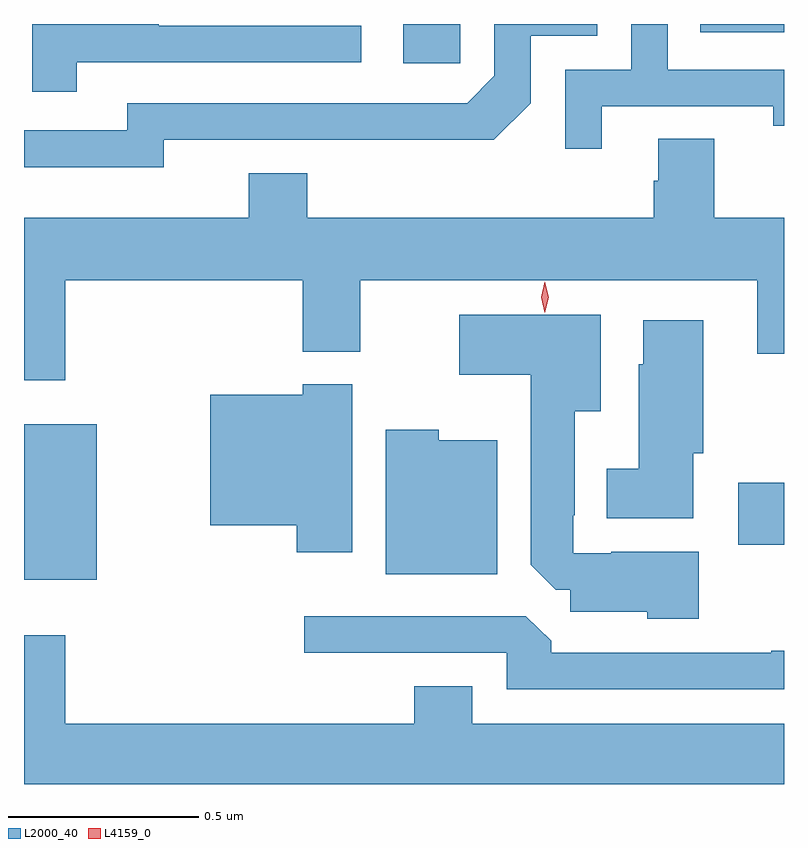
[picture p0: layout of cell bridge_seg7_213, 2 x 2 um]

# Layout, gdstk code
import gdstk
lib = gdstk.Library(unit=1e-6, precision=1e-09)
def R(c, l, rs):  # rectangles x0, y0, x1, y1
    for r in rs: c.add(gdstk.rectangle(r[:2], r[2:], *l))
def P(c, l, *ps):  # polygons
    for p in ps: c.add(gdstk.Polygon(p, *l))
L2000_40 = (2000, 40)
L4159_0 = (4159, 0)

bridge_seg7_213 = lib.new_cell('bridge_seg7_213')
R(bridge_seg7_213, L2000_40, [(126.67,1014.479,126.862,1014.889), (128.55,1014.572,128.67,1014.735), (127.668,1015.839,127.818,1015.942), (128.449,1015.92,128.67,1015.942)])
P(bridge_seg7_213, L2000_40, [(127.038,1015.638),(127.498,1015.638),(127.498,1015.637),(127.906,1015.637),(128.004,1015.734),(128.004,1015.911),(128.178,1015.911),(128.178,1015.942),(127.908,1015.942),(127.908,1015.806),(127.836,1015.734),(126.942,1015.734),(126.942,1015.662),(126.67,1015.662),(126.67,1015.565),(127.038,1015.565)],
  [(126.809,1015.842),(127.558,1015.842),(127.558,1015.938),(127.025,1015.938),(127.025,1015.942),(126.692,1015.942),(126.692,1015.764),(126.809,1015.764)],
  [(128.191,1015.725),(128.642,1015.725),(128.642,1015.674),(128.67,1015.674),(128.67,1015.821),(128.364,1015.821),(128.364,1015.942),(128.268,1015.942),(128.268,1015.821),(128.094,1015.821),(128.094,1015.614),(128.191,1015.614)],
  [(126.779,1015.268),(127.403,1015.268),(127.403,1015.079),(127.555,1015.079),(127.555,1015.268),(128.6,1015.268),(128.6,1015.074),(128.67,1015.074),(128.67,1015.432),(128.487,1015.432),(128.487,1015.64),(128.339,1015.64),(128.339,1015.53),(128.327,1015.53),(128.327,1015.432),(127.415,1015.432),(127.415,1015.549),(127.262,1015.549),(127.262,1015.432),(126.67,1015.432),(126.67,1015.005),(126.779,1015.005)],
  [(128.446,1014.553),(128.215,1014.553),(128.215,1014.549),(128.115,1014.549),(128.115,1014.649),(128.119,1014.649),(128.119,1014.923),(128.188,1014.923),(128.188,1015.177),(127.815,1015.177),(127.815,1015.019),(128.003,1015.019),(128.003,1014.519),(128.069,1014.453),(128.108,1014.453),(128.108,1014.395),(128.31,1014.395),(128.31,1014.377),(128.446,1014.377)],
  [(128.431,1014.813),(128.458,1014.813),(128.458,1015.162),(128.3,1015.162),(128.3,1015.047),(128.288,1015.047),(128.288,1014.772),(128.204,1014.772),(128.204,1014.641),(128.431,1014.641)],
  [(127.534,1014.994),(127.404,1014.994),(127.404,1014.967),(127.16,1014.967),(127.16,1014.623),(127.388,1014.623),(127.388,1014.552),(127.534,1014.552)],
  [(127.915,1014.847),(127.761,1014.847),(127.761,1014.874),(127.622,1014.874),(127.622,1014.494),(127.915,1014.494)],
  [(128.67,1014.293),(128.636,1014.293),(128.636,1014.288),(128.057,1014.288),(128.057,1014.319),(127.991,1014.384),(127.407,1014.384),(127.407,1014.288),(127.941,1014.288),(127.941,1014.192),(128.67,1014.192)],
  [(128.67,1014.1),(127.849,1014.1),(127.849,1014.199),(127.697,1014.199),(127.697,1014.1),(126.779,1014.1),(126.779,1014.334),(126.67,1014.334),(126.67,1013.942),(128.67,1013.942)])
P(bridge_seg7_213, L4159_0, [(128.041,1015.182),(128.041,1015.182),(128.031,1015.223),(128.041,1015.264),(128.041,1015.264),(128.041,1015.264),(128.051,1015.223),(128.041,1015.182)])

lib.write_gds('bridge_seg7_213.gds')
